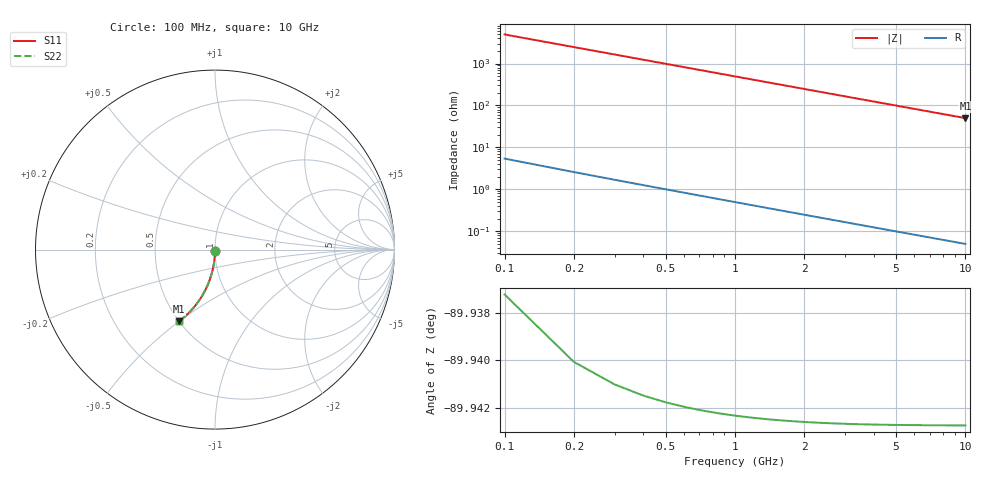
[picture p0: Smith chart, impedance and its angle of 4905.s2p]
# Hz S RI R 50.00
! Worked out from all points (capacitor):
!   100 points, 100 MHz to 10 GHz, reference 50 ohm
!   read as one part in shunt: C = 323 fF near 100 MHz
!   lowest |Z| = 49.9 ohm at 10 GHz (marker M1)
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1e8  -3.06e-05 -0.00507  1 -0.00507  1 -0.00507  -3.06e-05 -0.00507
2e8  -0.000113 -0.0101  0.9999 -0.0101  0.9999 -0.0101  -0.000113 -0.0101
3e8  -0.000246 -0.0152  0.9998 -0.0152  0.9998 -0.0152  -0.000246 -0.0152
4e8  -0.000431 -0.0203  0.9996 -0.0203  0.9996 -0.0203  -0.000431 -0.0203
5e8  -0.000667 -0.0253  0.9993 -0.0253  0.9993 -0.0253  -0.000667 -0.0253
6e8  -0.000954 -0.0304  0.999 -0.0304  0.999 -0.0304  -0.000954 -0.0304
7e8  -0.00129 -0.0354  0.9987 -0.0354  0.9987 -0.0354  -0.00129 -0.0354
8e8  -0.00168 -0.0404  0.9983 -0.0405  0.9983 -0.0405  -0.00168 -0.0404
9e8  -0.00212 -0.0455  0.9979 -0.0455  0.9979 -0.0455  -0.00212 -0.0455
1.1e9  -0.00315 -0.0555  0.9969 -0.0556  0.9969 -0.0556  -0.00315 -0.0555
1.4e9  -0.00507 -0.0705  0.9949 -0.0705  0.9949 -0.0705  -0.00507 -0.0705
1.8e9  -0.00831 -0.0902  0.9917 -0.0903  0.9917 -0.0903  -0.00831 -0.0902
2.1e9  -0.0112 -0.1049  0.9888 -0.105  0.9888 -0.105  -0.0112 -0.1049
2.5e9  -0.0158 -0.1242  0.9842 -0.1243  0.9842 -0.1243  -0.0158 -0.1242
2.9e9  -0.0211 -0.1432  0.9789 -0.1433  0.9789 -0.1433  -0.0211 -0.1432
3.4e9  -0.0287 -0.1664  0.9713 -0.1666  0.9713 -0.1666  -0.0287 -0.1664
4.2e9  -0.043 -0.2023  0.957 -0.2025  0.957 -0.2025  -0.043 -0.2023
5.1e9  -0.0619 -0.2404  0.9381 -0.2407  0.9381 -0.2407  -0.0619 -0.2404
5.9e9  -0.081 -0.2722  0.919 -0.2725  0.919 -0.2725  -0.081 -0.2722
6.7e9  -0.1019 -0.3018  0.8981 -0.3021  0.8981 -0.3021  -0.1019 -0.3018
8.4e9  -0.1508 -0.3571  0.8492 -0.3576  0.8492 -0.3576  -0.1508 -0.3571
1e10  -0.2006 -0.3997  0.7994 -0.4003  0.7994 -0.4003  -0.2006 -0.3997
